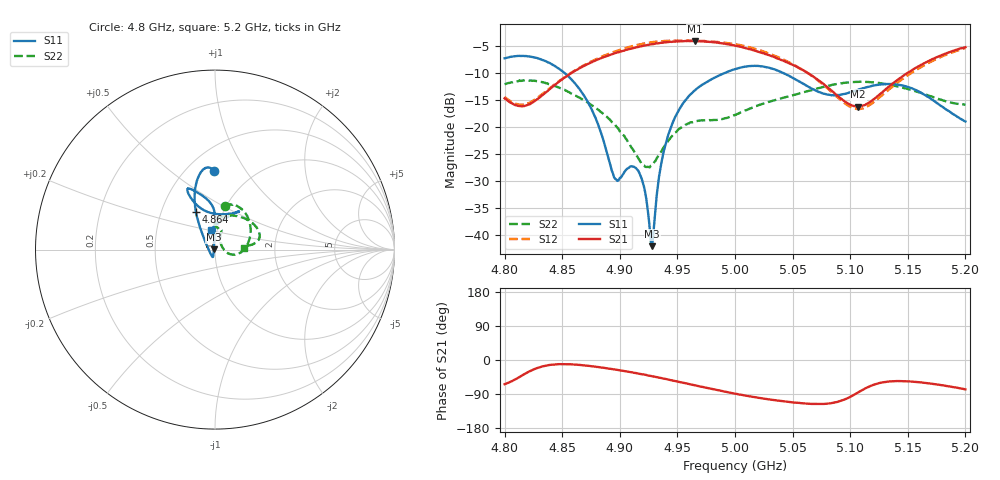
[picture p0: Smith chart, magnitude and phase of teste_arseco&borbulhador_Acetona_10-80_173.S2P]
! Network Analyzer HP8722D
! Hewlett-Packard
! Data name: Linha & Wilkinson
! Saver's name: Rodrigo Anjos
! Comments: Teste da utilização de aquisição
! continua pelo VNA HP8722D
! Time and date: 25/4/2025 16:42
!  Frequency  S11  S21  S12  S22
# HZ  S  MA R 50
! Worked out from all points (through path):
!   401 points, 4.8 GHz to 5.2 GHz, reference 50 ohm
!   highest |S21| = -3.98 dB at 4.965 GHz (marker M1); lowest = -16.1 dB at 5.107 GHz (marker M2)
!   lowest |S11| = -42.1 dB at 4.928 GHz (marker M3), VSWR 1.02, Z = 49.2 + j0.0943 ohm
!   |S11| at or under -10 dB: 4.852 GHz to 4.99 GHz (137.7 MHz wide, 2.8 % of centre); 5.043 GHz to end of sweep
!   |S22| runs from -27.4 to -11.3 dB; largest |S21 - S12| = 1.2
!   S11 on the Smith chart (normalised r, x): 4.8 GHz: 0.67, +0.72; 4.864 GHz: 0.75, +0.33; 5.2 GHz: 0.94, +0.21
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4.8e9  0.4362 91.0  0.1856 -63.9  0.191 69.6  0.2504 77.6
4.82e9  0.4544 97.2  0.1612 -32.4  0.1665 98.3  0.2724 61.9
4.843e9  0.3742 106.5  0.2442 -11.8  0.2479 118.8  0.2437 37.2
4.864e9  0.2339 116.9  0.348 -12.7  0.3513 121.0  0.1903 12.3
4.867e9  0.2112 118.6  0.3616 -13.7  0.3657 120.8  0.183 8.9
4.88e9  0.114 128.8  0.4219 -18.3  0.4312 118.3  0.1487 -4.9
4.896e9  0.03329 -169.1  0.4882 -25.2  0.5056 113.2  0.1054 -15.4
4.91e9  0.04352 -108.1  0.5363 -32.5  0.5626 107.3  0.06497 -12.9
4.917e9  0.03763 -105.0  0.5614 -36.3  0.5868 103.7  0.04976 0.1
4.921e9  0.02806 -108.9  0.5734 -38.5  0.5992 101.4  0.04431 12.3
4.928e9  0.007892 173.0  0.5901 -42.8  0.6158 97.2  0.04457 40.7
4.934e9  0.03454 100.5  0.6023 -46.7  0.626 93.3  0.05537 57.2
4.939e9  0.06472 93.7  0.6122 -49.7  0.6325 90.1  0.06755 65.0
4.946e9  0.1108 90.3  0.6237 -54.3  0.6367 85.7  0.08464 69.4
4.965e9  0.2195 91.4  0.6324 -66.8  0.6351 73.5  0.1139 71.1
5e9  0.3468 109.3  0.5727 -88.9  0.5908 50.9  0.1304 88.3
5.03e9  0.3554 115.3  0.4651 -104.2  0.481 33.9  0.1725 85.5
5.067e9  0.2279 105.7  0.3006 -115.9  0.2979 23.6  0.2218 57.2
5.107e9  0.2229 64.7  0.1558 -85.5  0.1475 57.7  0.2637 24.3
5.134e9  0.2518 57.8  0.2394 -56.6  0.2256 88.7  0.2481 12.5
5.169e9  0.1873 70.5  0.4167 -61.9  0.4003 85.0  0.1953 6.9
5.2e9  0.1133 100.7  0.5533 -77.5  0.5442 70.2  0.1621 3.8
